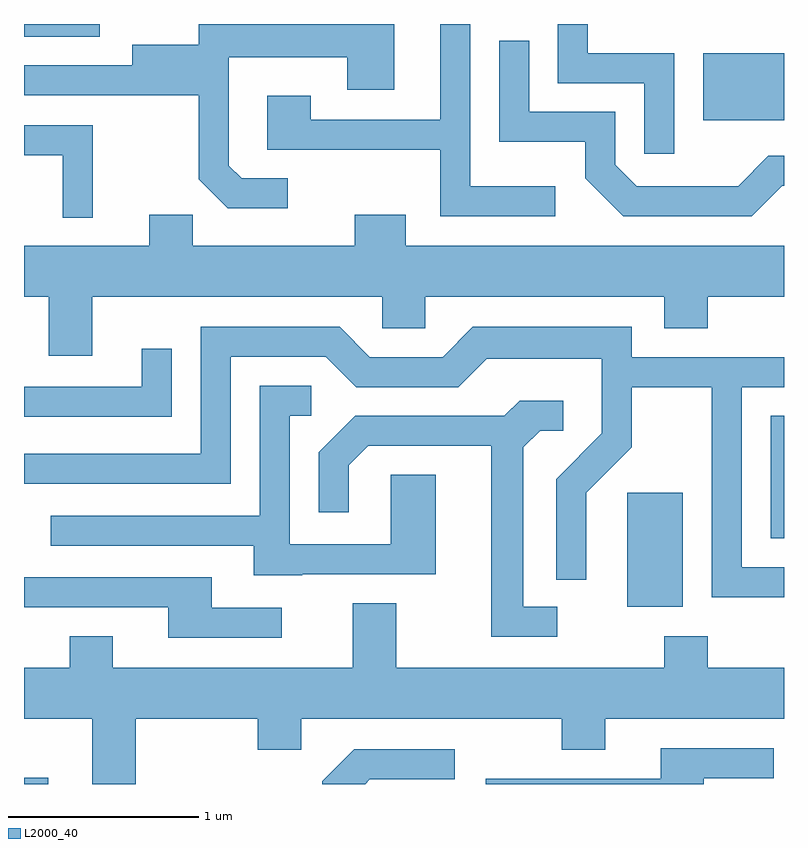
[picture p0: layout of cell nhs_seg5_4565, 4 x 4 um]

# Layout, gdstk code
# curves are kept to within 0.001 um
import gdstk
lib = gdstk.Library(unit=1e-6, precision=1e-09)
def R(c, l, rs):  # rectangles x0, y0, x1, y1
    for r in rs: c.add(gdstk.rectangle(r[:2], r[2:], *l))
def P(c, l, *ps):  # polygons
    for p in ps: c.add(gdstk.Polygon(p, *l))
L2000_40 = (2000, 40)

nhs_seg5_4565 = lib.new_cell('nhs_seg5_4565')
R(nhs_seg5_4565, L2000_40, [(321.611,1392.072,321.739,1392.104), (324.786,1393.006,325.079,1393.604), (325.541,1393.366,325.611,1394.009), (325.186,1395.566,325.611,1395.919), (321.611,1396.006,322.009,1396.072), (324.723,1396.071,325.611,1396.072)])
P(nhs_seg5_4565, L2000_40, [(322.998,1395.259),(322.757,1395.259),(322.689,1395.327),(322.689,1395.896),(323.311,1395.896),(323.311,1395.726),(323.559,1395.726),(323.559,1396.072),(322.531,1396.072),(322.531,1395.964),(322.181,1395.964),(322.181,1395.854),(321.611,1395.854),(321.611,1395.696),(322.531,1395.696),(322.531,1395.254),(322.684,1395.101),(322.998,1395.101)],
  [(325.034,1395.919),(324.579,1395.919),(324.579,1396.072),(324.421,1396.072),(324.421,1395.761),(324.876,1395.761),(324.876,1395.388),(325.034,1395.388)],
  [(324.408,1395.219),(323.959,1395.219),(323.959,1396.072),(323.801,1396.072),(323.801,1395.569),(323.119,1395.569),(323.119,1395.694),(322.891,1395.694),(322.891,1395.411),(323.801,1395.411),(323.801,1395.061),(324.408,1395.061)],
  [(325.602,1395.221),(325.611,1395.221),(325.611,1395.379),(325.529,1395.379),(325.369,1395.219),(324.837,1395.219),(324.724,1395.332),(324.724,1395.609),(324.269,1395.609),(324.269,1395.983),(324.111,1395.983),(324.111,1395.451),(324.566,1395.451),(324.566,1395.259),(324.764,1395.061),(325.442,1395.061)],
  [(321.974,1395.539),(321.611,1395.539),(321.611,1395.381),(321.816,1395.381),(321.816,1395.053),(321.974,1395.053)],
  [(321.969,1394.636),(323.496,1394.636),(323.496,1394.471),(323.724,1394.471),(323.724,1394.636),(324.981,1394.636),(324.981,1394.471),(325.209,1394.471),(325.209,1394.636),(325.611,1394.636),(325.611,1394.904),(323.619,1394.904),(323.619,1395.069),(323.351,1395.069),(323.351,1394.904),(322.499,1394.904),(322.499,1395.069),(322.271,1395.069),(322.271,1394.904),(321.611,1394.904),(321.611,1394.636),(321.741,1394.636),(321.741,1394.326),(321.969,1394.326)],
  [(325.611,1393.214),(325.389,1393.214),(325.389,1394.161),(325.611,1394.161),(325.611,1394.319),(324.809,1394.319),(324.809,1394.479),(323.974,1394.479),(323.814,1394.319),(323.432,1394.319),(323.272,1394.479),(322.541,1394.479),(322.541,1393.809),(321.611,1393.809),(321.611,1393.651),(322.699,1393.651),(322.699,1394.321),(323.199,1394.321),(323.359,1394.161),(323.897,1394.161),(324.047,1394.311),(324.651,1394.311),(324.651,1393.917),(324.411,1393.677),(324.411,1393.148),(324.569,1393.148),(324.569,1393.604),(324.809,1393.844),(324.809,1394.161),(325.231,1394.161),(325.231,1393.056),(325.611,1393.056)],
  [(322.389,1394.363),(322.231,1394.363),(322.231,1394.164),(321.611,1394.164),(321.611,1394.006),(322.389,1394.006)],
  [(323.075,1393.176),(323.779,1393.176),(323.779,1393.699),(323.541,1393.699),(323.541,1393.334),(323.009,1393.334),(323.009,1394.011),(323.123,1394.011),(323.123,1394.169),(322.851,1394.169),(322.851,1393.484),(321.753,1393.484),(321.753,1393.326),(322.821,1393.326),(322.821,1393.171),(323.075,1393.171)],
  [(324.418,1393.004),(324.239,1393.004),(324.239,1393.844),(324.327,1393.931),(324.448,1393.931),(324.448,1394.089),(324.219,1394.089),(324.139,1394.009),(323.354,1394.009),(323.161,1393.817),(323.161,1393.503),(323.319,1393.503),(323.319,1393.749),(323.422,1393.851),(324.071,1393.851),(324.071,1392.846),(324.418,1392.846)],
  [(322.968,1392.999),(322.599,1392.999),(322.599,1393.159),(321.611,1393.159),(321.611,1393.001),(322.371,1393.001),(322.371,1392.841),(322.968,1392.841)],
  [(322.199,1392.416),(322.841,1392.416),(322.841,1392.251),(323.069,1392.251),(323.069,1392.416),(324.441,1392.416),(324.441,1392.251),(324.669,1392.251),(324.669,1392.416),(325.611,1392.416),(325.611,1392.684),(325.209,1392.684),(325.209,1392.849),(324.981,1392.849),(324.981,1392.684),(323.569,1392.684),(323.569,1393.024),(323.341,1393.024),(323.341,1392.684),(322.079,1392.684),(322.079,1392.849),(321.851,1392.849),(321.851,1392.684),(321.611,1392.684),(321.611,1392.416),(321.971,1392.416),(321.971,1392.072),(322.199,1392.072)],
  [(325.189,1392.101),(325.558,1392.101),(325.558,1392.259),(324.961,1392.259),(324.961,1392.099),(324.041,1392.099),(324.041,1392.072),(325.189,1392.072)],
  [(323.432,1392.096),(323.878,1392.096),(323.878,1392.254),(323.349,1392.254),(323.181,1392.087),(323.181,1392.072),(323.408,1392.072)])

lib.write_gds('nhs_seg5_4565.gds')
